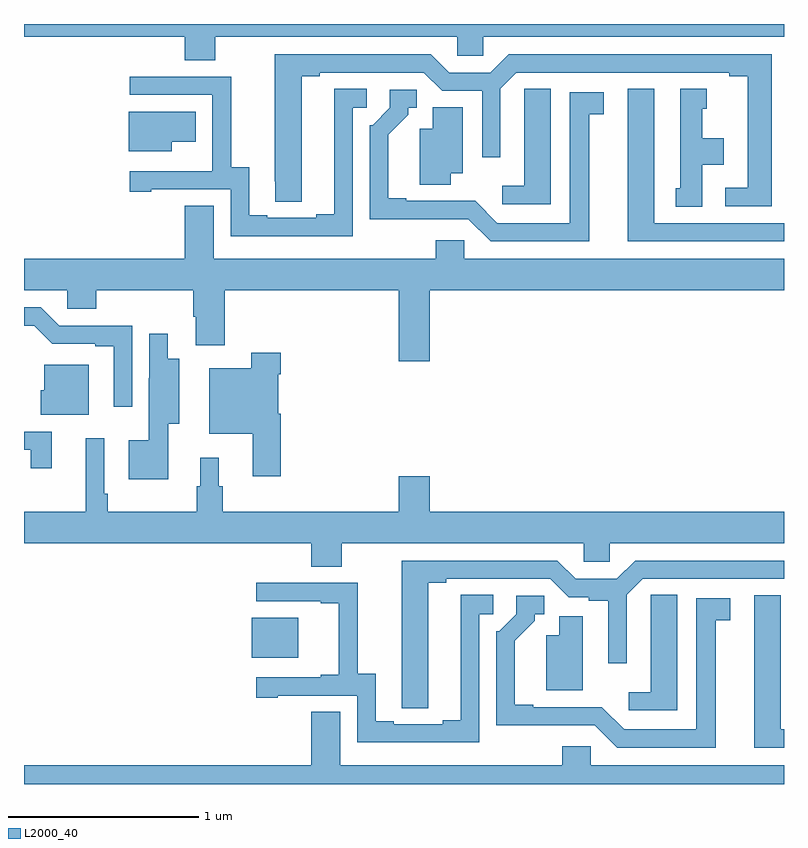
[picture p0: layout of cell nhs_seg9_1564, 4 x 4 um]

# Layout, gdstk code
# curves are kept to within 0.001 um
import gdstk
lib = gdstk.Library(unit=1e-6, precision=1e-09)
def R(c, l, rs):  # rectangles x0, y0, x1, y1
    for r in rs: c.add(gdstk.rectangle(r[:2], r[2:], *l))
def P(c, l, *ps):  # polygons
    for p in ps: c.add(gdstk.Polygon(p, *l))
L2000_40 = (2000, 40)

nhs_seg9_1564 = lib.new_cell('nhs_seg9_1564')
R(nhs_seg9_1564, L2000_40, [(200.198,1181.165,200.443,1181.374)])
P(nhs_seg9_1564, L2000_40, [(200.007,1184.432),(201.279,1184.432),(201.279,1184.334),(201.417,1184.334),(201.417,1184.432),(203,1184.432),(203,1184.5),(199,1184.5),(199,1184.432),(199.847,1184.432),(199.847,1184.308),(200.007,1184.308)],
  [(202.936,1184.34),(201.551,1184.34),(201.455,1184.244),(201.237,1184.244),(201.141,1184.34),(200.321,1184.34),(200.322,1183.564),(200.461,1183.564),(200.461,1184.224),(200.557,1184.224),(200.557,1184.244),(201.105,1184.244),(201.201,1184.148),(201.411,1184.148),(201.411,1183.8),(201.507,1183.8),(201.507,1184.16),(201.591,1184.244),(202.712,1184.244),(202.712,1184.224),(202.808,1184.224),(202.808,1183.638),(202.692,1183.638),(202.692,1183.542),(202.936,1183.542)],
  [(200.73,1184.058),(200.803,1184.058),(200.803,1184.159),(200.633,1184.159),(200.633,1183.499),(200.537,1183.499),(200.537,1183.479),(200.281,1183.479),(200.281,1183.494),(200.185,1183.494),(200.185,1183.745),(200.091,1183.745),(200.091,1184.223),(199.557,1184.223),(199.557,1184.127),(199.992,1184.127),(199.992,1183.726),(199.991,1183.726),(199.991,1183.725),(199.557,1183.725),(199.557,1183.617),(199.669,1183.617),(199.669,1183.629),(200.088,1183.629),(200.088,1183.383),(200.73,1183.383)],
  [(201.772,1184.159),(201.633,1184.159),(201.633,1184.051),(201.632,1184.051),(201.632,1183.648),(201.516,1183.648),(201.516,1183.551),(201.772,1183.551)],
  [(202.57,1183.76),(202.684,1183.76),(202.684,1183.9),(202.57,1183.9),(202.57,1184.055),(202.594,1184.055),(202.594,1184.158),(202.454,1184.158),(202.454,1183.635),(202.43,1183.635),(202.43,1183.537),(202.57,1183.537)],
  [(203,1183.452),(202.318,1183.452),(202.318,1184.158),(202.178,1184.158),(202.178,1183.356),(203,1183.356)],
  [(201.976,1184.026),(202.051,1184.026),(202.051,1184.142),(201.872,1184.142),(201.872,1183.452),(201.492,1183.452),(201.374,1183.57),(201.013,1183.569),(201.013,1183.582),(200.917,1183.582),(200.917,1183.918),(201.022,1184.023),(201.022,1184.058),(201.067,1184.058),(201.067,1184.154),(200.925,1184.154),(200.925,1184.058),(200.835,1183.968),(200.82,1183.968),(200.82,1183.472),(201.339,1183.473),(201.456,1183.356),(201.976,1183.356)],
  [(201.247,1183.715),(201.31,1183.715),(201.31,1184.063),(201.152,1184.063),(201.152,1183.948),(201.083,1183.948),(201.083,1183.654),(201.247,1183.654)],
  [(199.777,1183.88),(199.903,1183.88),(199.903,1184.038),(199.55,1184.038),(199.55,1183.829),(199.777,1183.829)],
  [(201.136,1183.1),(203,1183.1),(203,1183.264),(201.318,1183.264),(201.318,1183.362),(201.167,1183.362),(201.167,1183.264),(199.999,1183.264),(199.999,1183.544),(199.847,1183.544),(199.847,1183.264),(199,1183.264),(199,1183.1),(199.227,1183.1),(199.227,1183.002),(199.379,1183.002),(199.379,1183.1),(199.892,1183.1),(199.892,1182.958),(199.904,1182.958),(199.904,1182.81),(200.057,1182.81),(200.057,1183.1),(200.972,1183.1),(200.972,1182.726),(201.136,1182.726)],
  [(199.569,1182.912),(199.185,1182.912),(199.089,1183.008),(199,1183.008),(199,1182.912),(199.053,1182.912),(199.149,1182.816),(199.376,1182.816),(199.376,1182.804),(199.472,1182.804),(199.472,1182.486),(199.569,1182.486)],
  [(199.758,1182.395),(199.816,1182.395),(199.816,1182.739),(199.756,1182.739),(199.756,1182.871),(199.658,1182.871),(199.658,1182.635),(199.657,1182.635),(199.657,1182.31),(199.55,1182.31),(199.55,1182.104),(199.758,1182.104)],
  [(200.351,1182.448),(200.338,1182.448),(200.338,1182.656),(200.351,1182.656),(200.351,1182.769),(200.197,1182.769),(200.197,1182.688),(199.976,1182.688),(199.976,1182.344),(200.204,1182.344),(200.204,1182.12),(200.351,1182.12)],
  [(199.342,1182.706),(199.106,1182.706),(199.106,1182.573),(199.088,1182.573),(199.088,1182.443),(199.342,1182.443)],
  [(199.145,1182.354),(199,1182.354),(199,1182.258),(199.036,1182.258),(199.036,1182.162),(199.145,1182.162)],
  [(200.673,1181.768),(201.945,1181.768),(201.945,1181.67),(202.083,1181.67),(202.083,1181.768),(203,1181.768),(203,1181.932),(201.136,1181.932),(201.136,1182.121),(200.972,1182.121),(200.972,1181.932),(200.045,1181.932),(200.045,1182.066),(200.026,1182.066),(200.026,1182.217),(199.928,1182.217),(199.928,1182.066),(199.909,1182.066),(199.909,1181.932),(199.442,1181.932),(199.442,1182.028),(199.422,1182.028),(199.422,1182.319),(199.325,1182.319),(199.325,1181.932),(199,1181.932),(199,1181.768),(200.513,1181.768),(200.513,1181.644),(200.673,1181.644)],
  [(201.127,1181.56),(201.223,1181.56),(201.223,1181.58),(201.771,1181.58),(201.867,1181.484),(201.972,1181.484),(201.972,1181.464),(202.076,1181.464),(202.076,1181.136),(202.173,1181.136),(202.173,1181.496),(202.257,1181.58),(203,1181.58),(203,1181.676),(202.217,1181.676),(202.121,1181.58),(201.903,1181.58),(201.807,1181.676),(200.987,1181.676),(200.988,1180.9),(201.127,1180.9)],
  [(201.396,1181.394),(201.469,1181.394),(201.469,1181.495),(201.299,1181.495),(201.299,1180.835),(201.203,1180.835),(201.203,1180.815),(200.947,1180.815),(200.947,1180.83),(200.851,1180.83),(200.851,1181.081),(200.757,1181.081),(200.757,1181.559),(200.223,1181.559),(200.223,1181.463),(200.561,1181.463),(200.561,1181.451),(200.657,1181.451),(200.657,1181.074),(200.561,1181.074),(200.561,1181.061),(200.223,1181.061),(200.223,1180.953),(200.335,1180.953),(200.335,1180.965),(200.754,1180.965),(200.754,1180.719),(201.396,1180.719)],
  [(202.438,1181.495),(202.299,1181.495),(202.299,1181.387),(202.298,1181.387),(202.298,1180.984),(202.182,1180.984),(202.182,1180.887),(202.438,1180.887)],
  [(203,1180.788),(202.984,1180.788),(202.984,1181.494),(202.844,1181.494),(202.844,1180.692),(203,1180.692)],
  [(202.642,1181.362),(202.717,1181.362),(202.717,1181.478),(202.538,1181.478),(202.538,1180.788),(202.158,1180.788),(202.041,1180.905),(201.679,1180.905),(201.679,1180.918),(201.583,1180.918),(201.583,1181.254),(201.688,1181.359),(201.688,1181.394),(201.738,1181.394),(201.738,1181.49),(201.591,1181.49),(201.591,1181.394),(201.501,1181.304),(201.486,1181.304),(201.486,1180.808),(202.005,1180.809),(202.122,1180.692),(202.642,1180.692)],
  [(201.94,1181.382),(201.818,1181.382),(201.818,1181.284),(201.749,1181.284),(201.749,1180.994),(201.94,1180.994)],
  [(200.665,1180.88),(200.513,1180.88),(200.513,1180.6),(199,1180.6),(199,1180.5),(203,1180.5),(203,1180.6),(201.984,1180.6),(201.984,1180.698),(201.833,1180.698),(201.833,1180.6),(200.665,1180.6)])

lib.write_gds('nhs_seg9_1564.gds')
